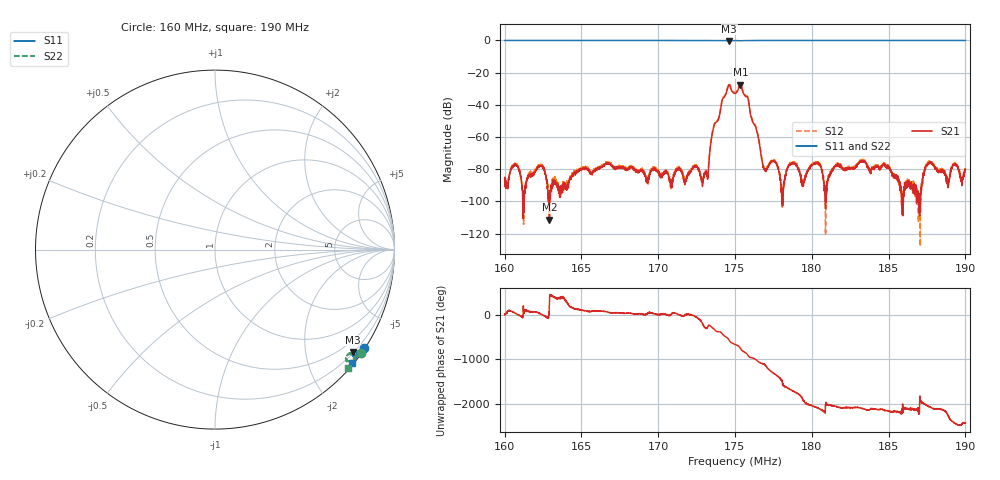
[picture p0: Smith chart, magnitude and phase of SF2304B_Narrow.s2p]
!Agilent Technologies,N5230A,US44240068,A.07.50.67
!Agilent N5230A: A.07.50.67
!Date: Wednesday, November 10, 2021 18:26:22
!Correction: S11(Full 2 Port(1,2))
!S21(Full 2 Port(1,2))
!S12(Full 2 Port(1,2))
!S22(Full 2 Port(1,2))
!S2P File: Measurements: S11, S21, S12, S22:
# Hz S  dB  R 50
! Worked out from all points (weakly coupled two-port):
!   3201 points, 160 MHz to 190 MHz, reference 50 ohm
!   highest |S21| = -27.48 dB at 175.3 MHz (marker M1); lowest = -111.3 dB at 162.9 MHz (marker M2)
!   lowest |S11| = -0.4 dB at 174.6 MHz (marker M3), VSWR 43.86, Z = 11.5 - j150 ohm
!   |S11| at or under -10 dB: nowhere
!   |S22| runs from -0.5 to 0.0 dB; largest |S21 - S12| = 0.0038
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1.6e8  -0.07 -33.4  -85.56 3.6  -85.74 12.9  -0.04 -35.3
1.629156e8  -0.06 -34.0  -111.28 -144.1  -98.38 14.0  -0.03 -35.9
1.650062e8  -0.06 -34.5  -79.99 106.6  -79.71 105.0  -0.03 -36.4
1.666938e8  -0.06 -34.8  -76.35 65.3  -75.71 58.9  -0.03 -36.8
1.700031e8  -0.06 -35.6  -81.80 9.1  -80.47 2.9  -0.03 -37.6
1.731344e8  -0.06 -36.5  -81.38 57.9  -80.85 61.6  -0.04 -38.6
1.736125e8  -0.07 -36.8  -53.76 44.3  -53.15 41.0  -0.07 -39.0
1.746156e8  -0.40 -36.7  -27.48 148.0  -26.90 144.7  -0.51 -39.2
1.75e8  -0.13 -36.5  -32.95 54.6  -32.36 51.2  -0.06 -38.6
1.753469e8  -0.39 -36.6  -27.48 -32.0  -26.90 -35.2  -0.52 -38.3
1.75825e8  -0.21 -36.2  -35.48 176.3  -34.88 173.0  -0.17 -38.1
1.769406e8  -0.06 -36.5  -80.73 -45.8  -80.71 -47.3  -0.04 -38.6
1.774656e8  -0.06 -36.7  -75.25 137.8  -73.91 130.3  -0.04 -38.8
1.78e8  -0.06 -36.9  -90.49 -33.2  -90.96 -20.1  -0.04 -39.0
1.800062e8  -0.06 -37.4  -77.58 115.1  -76.99 107.7  -0.04 -39.5
1.821719e8  -0.06 -37.9  -80.42 71.8  -80.03 65.4  -0.04 -40.0
1.833062e8  -0.06 -38.2  -75.42 49.2  -73.96 42.0  -0.04 -40.3
1.838125e8  -0.06 -38.3  -81.74 27.8  -81.29 37.1  -0.04 -40.4
1.850031e8  -0.06 -38.5  -78.76 -9.8  -78.08 -11.3  -0.04 -40.7
1.871969e8  -0.06 -39.0  -87.88 -177.2  -87.84 -176.3  -0.05 -41.2
1.877125e8  -0.06 -39.1  -75.68 80.0  -75.17 74.0  -0.05 -41.3
1.9e8  -0.06 -39.6  -80.18 86.5  -79.19 84.3  -0.05 -41.8
